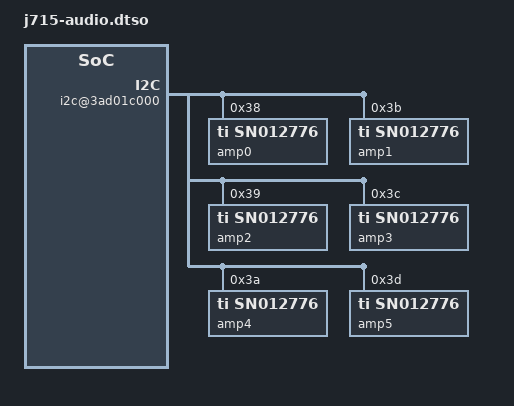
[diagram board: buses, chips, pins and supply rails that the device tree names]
// J715 (15-inch M4 Air) six-amplifier speaker topology, built into
// j713_audio_dt3.ko with M4_BOARD=j715. From the J715 ADT, /arm-io/i2c3
// (all sn012776): 0x38 left woofer 1, 0x3b right woofer 1, 0x39 left tweeter,
// 0x3c right tweeter, 0x3a left woofer 2, 0x3d right woofer 2. Amplifiers 0-3
// keep the J713 order; 4 and 5 are the J715's second woofers. Reset is gpio0
// pin 15, as on the J713.
/dts-v1/;
/plugin/;
/ {
    /* Exact saved pinctrl phandle0x3f must be rechecked before native apply. */
    fragment@0 {
        target-path = "/soc/i2s@393600000";
        __overlay__ {
            apple,speaker-group = <&speaker_group>;
        };
    };
    fragment@1 {
        target-path = "/";
        __overlay__ {
            speaker_group: speaker-group {
                compatible = "apple,j715-speaker-group";
                reset-gpios = <0x3f 15 0>;
            };
            sound {
                compatible = "apple,j715-audio";
                model = "Apple J715";
                apple,speaker-group = <&speaker_group>;
                apple,codecs = <&amp0 &amp1 &amp2 &amp3 &amp4 &amp5>;
            };
        };
    };
    fragment@2 {
        target-path = "/soc/i2c@3ad01c000";
        __overlay__ {
            #address-cells = <1>;
            #size-cells = <0>;
            amp0: amplifier@38 {   /* left woofer 1 */
                compatible = "ti,sn012776";
                reg = <0x38>;
                #sound-dai-cells = <0>;
                apple,speaker-group = <&speaker_group>;
            };
            amp1: amplifier@3b {   /* right woofer 1 */
                compatible = "ti,sn012776";
                reg = <0x3b>;
                #sound-dai-cells = <0>;
                apple,speaker-group = <&speaker_group>;
            };
            amp2: amplifier@39 {   /* left tweeter */
                compatible = "ti,sn012776";
                reg = <0x39>;
                #sound-dai-cells = <0>;
                apple,speaker-group = <&speaker_group>;
            };
            amp3: amplifier@3c {   /* right tweeter */
                compatible = "ti,sn012776";
                reg = <0x3c>;
                #sound-dai-cells = <0>;
                apple,speaker-group = <&speaker_group>;
            };
            amp4: amplifier@3a {   /* J715 only: left woofer 2 */
                compatible = "ti,sn012776";
                reg = <0x3a>;
                #sound-dai-cells = <0>;
                apple,speaker-group = <&speaker_group>;
            };
            amp5: amplifier@3d {   /* J715 only: right woofer 2 */
                compatible = "ti,sn012776";
                reg = <0x3d>;
                #sound-dai-cells = <0>;
                apple,speaker-group = <&speaker_group>;
            };
        };
    };
};
